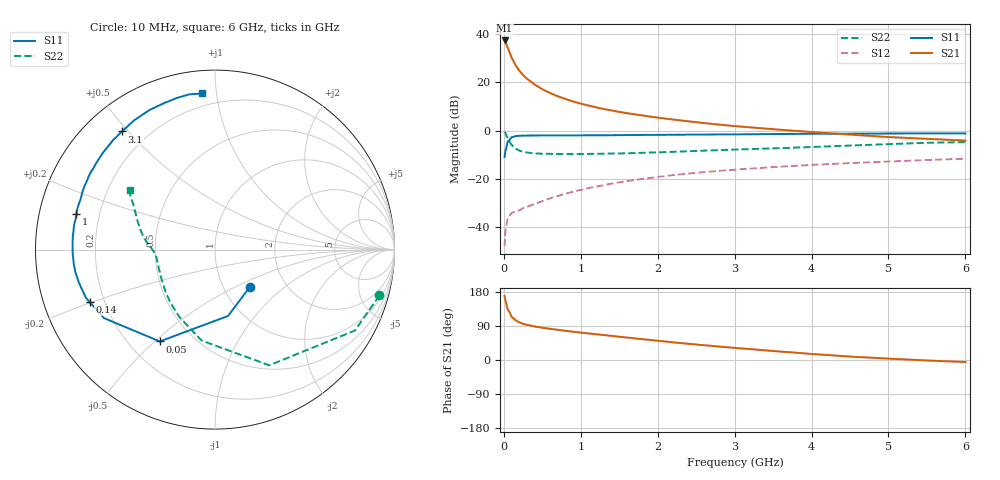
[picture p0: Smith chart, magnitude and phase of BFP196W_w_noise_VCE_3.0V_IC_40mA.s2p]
! Infineon Technologies  Discrete & RF Semiconductors
! BFP196W
! VCE =  3.0 V,  IC =  40 mA
! Common Emitter S-Parameters:  Jan 2017
# GHz  S  MA  R  50
!  f  S11  S21  S12  S22
! GHz  MAG  ANG  MAG  ANG  MAG  ANG  MAG  ANG
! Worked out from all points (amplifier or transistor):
!   77 points, 10 MHz to 6 GHz, reference 50 ohm
!   highest |S21| = 37.4 dB at 10 MHz (marker M1)
!   |S21| within 3 dB of that: start of sweep to 49.77 MHz
!   unconditionally stable (mu >= 1): 692 MHz to 3.33 GHz
!   at 130 MHz: K = 0.39, MSG = 31.2 dB, |S12| = -33.8 dB
!   at 2.2 GHz: K = 1.04, MAG = 10.3 dB, |S12| = -18.5 dB
!   at 6 GHz: K = 0.95, MSG = 3.8 dB, |S12| = -11.7 dB
!   lowest NFmin = 1.24 dB at 450 MHz
!   S11 on the Smith chart (normalised r, x): 10 MHz: 1.33, -0.60; 50 MHz: 0.33, -0.52; 140 MHz: 0.14, -0.20; 1 GHz: 0.11, +0.12; 3.1 GHz: 0.11, +0.48; 6 GHz: 0.12, +0.91
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0.01  0.2843 -46.7  74.29 168.8  0.004 79.5  0.9508 -15.6
0.02  0.3769 -78.9  70.22 157.2  0.0081 71.1  0.9011 -30.0
0.05  0.597 -121.0  52.49 133.1  0.0148 51.9  0.7119 -64.9
0.1  0.7264 -148.3  32.77 113.8  0.0196 40.4  0.5123 -98.4
0.14  0.7572 -157.4  24.98 107.2  0.0207 38.9  0.4378 -113.4
0.15  0.7678 -159.6  23.1 104.9  0.021 38.6  0.4249 -117.9
0.2  0.78 -166.2  17.65 99.4  0.0221 40.5  0.3864 -129.9
0.25  0.7877 -170.7  14.23 95.5  0.0245 42.4  0.3641 -138.6
0.3  0.7907 -173.9  11.93 92.8  0.0261 45.2  0.3506 -144.6
0.4  0.7934 -178.5  9.02 88.4  0.0301 50.4  0.3379 -152.9
0.5  0.7939 177.9  7.223 85.1  0.0344 52.8  0.3317 -158.2
0.6  0.7957 175.1  6.041 82.2  0.0392 55.0  0.3304 -162.1
0.7  0.795 172.6  5.175 79.7  0.0439 58.0  0.3272 -164.8
0.8  0.7975 170.0  4.535 77.0  0.0489 59.6  0.3274 -166.9
1  0.7969 165.7  3.637 72.3  0.0588 60.2  0.3277 -170.4
1.1  0.8001 163.6  3.315 70.2  0.0643 60.7  0.329 -171.6
1.5  0.8065 155.8  2.447 61.4  0.0842 59.7  0.3364 -176.3
2.1  0.8175 144.5  1.777 48.8  0.1142 56.3  0.3585 177.9
3.1  0.8373 128.2  1.206 30.4  0.1586 47.9  0.4086 169.0
4.1  0.8593 114.0  0.912 14.6  0.1976 39.7  0.463 159.2
5.1  0.8718 103.2  0.723 2.7  0.2316 31.6  0.5311 150.0
6  0.8731 94.7  0.621 -5.4  0.2613 24.8  0.5772 145.1
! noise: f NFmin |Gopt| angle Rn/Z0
0.45  1.24  0.48  -179  0.06
0.9  1.39  0.54  -173  0.06
1.9  2.21  0.69  -150  0.14
2.4  2.61  0.73  -145  0.23
